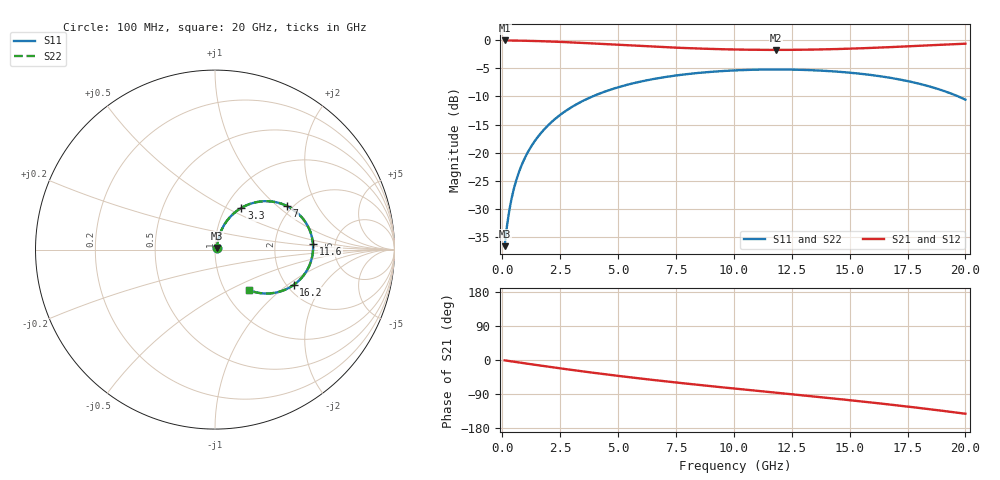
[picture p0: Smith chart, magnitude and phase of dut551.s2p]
! Touchstone file exported from HFSS 2026.1.0
!  File:  C:/ffzhzh/LocalFiles/Ansys_Project_Files/temp_train_TSV_RDL_551_1783114830_37876.aedt
!  Generated:  05:50:48 AM Jul  4, 2026
!  Design:  TSV_RDL
!  Project:  temp_train_TSV_RDL_551_1783114830_37876
! Variables:
!  h_bsmrdl = 5um
!  h_ox = 20um
!  h_rdl = 5um
!  h_sub = 82.22um
!  h_tmrdl = 4.93um
!  h_tsv = 82.22um
!  h_via = 3um
!  l_bsmrdl = 323.62um
!  l_sub = 2302.26um
!  l_tmrdl = 212.96um
!  m_sub = 200um
!  pitch = 47.09um
!  r_tsv = 8.95um
!  s_tmrdl = 10um
!  w_bsmrdl = 14.52um
!  w_sub = 500um
!  w_tmrdl = 12um
!  x_tsv_center1 = 218.96um
!  x_tsv_center2 = 557.1um
!  x_tsv_center3 = 782.06um
!  x_tsv_center4 = 1120.2um
!  x_tsv_center5 = 1345.16um
!  x_tsv_center6 = 1683.3um
# GHz S MA R 50.000000
! Terminal data exported
! Port[1] = TM_RDL1_1_T1
! Port[2] = TM_RDL5_1_T1
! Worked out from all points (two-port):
!   200 points, 100 MHz to 20 GHz, reference 50 ohm
!   highest |S21| = -0.10 dB at 100 MHz (marker M1); lowest = -1.8 dB at 11.8 GHz (marker M2)
!   |S21| within 3 dB of the highest: start of sweep to end of sweep
!   lowest |S11| = -36.6 dB at 100 MHz (marker M3), VSWR 1.03, Z = 51.2 + j0.957 ohm
!   |S11| at or under -10 dB: start of sweep to 3.91 GHz; 19.68 GHz to end of sweep
!   |S22| runs from -36.6 to -5.2 dB; largest |S21 - S12| = 4.1e-14
!   S11 on the Smith chart (normalised r, x): 100 MHz: 1.02, +0.02; 3.3 GHz: 1.18, +0.60; 7 GHz: 1.85, +1.16; 11.6 GHz: 3.38, +0.32; 16.2 GHz: 2.17, -1.11; 20 GHz: 1.29, -0.64
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0.1  0.01485 39.1  0.9886 -0.9  0.9886 -0.9  0.01485 39.1
! Gamma 0 0 0 0
! Port Impedance 50 0 50 0
0.2  0.02222 56.5  0.9882 -1.8  0.9882 -1.8  0.02222 56.5
0.3  0.03056 64.3  0.9877 -2.8  0.9877 -2.8  0.03056 64.3
0.4  0.03921 68.2  0.9871 -3.7  0.9871 -3.7  0.03921 68.2
0.7  0.06562 72.4  0.9851 -6.3  0.9851 -6.3  0.06562 72.4
1  0.09201 72.6  0.9824 -9.0  0.9824 -9.0  0.09201 72.6
1.4  0.1266 71.0  0.9778 -12.6  0.9778 -12.6  0.1266 71.0
1.9  0.1685 67.9  0.9705 -16.9  0.9705 -16.9  0.1685 67.9
2.5  0.2164 63.6  0.9599 -22.0  0.9599 -22.0  0.2164 63.6
3.3  0.2754 57.6  0.9435 -28.6  0.9435 -28.6  0.2754 57.6
3.5  0.2892 56.1  0.9391 -30.3  0.9391 -30.3  0.2892 56.1
5  0.38 45.1  0.9046 -41.9  0.9046 -41.9  0.38 45.1
6.8  0.4602 32.8  0.8661 -54.6  0.8661 -54.6  0.4602 32.8
7  0.4673 31.5  0.8623 -56.0  0.8623 -56.0  0.4673 31.5
10.1  0.5373 12.3  0.8214 -75.8  0.8214 -75.8  0.5373 12.3
11.6  0.5468 3.5  0.8154 -85.0  0.8154 -85.0  0.5468 3.5
11.8  0.5469 2.3  0.8153 -86.2  0.8153 -86.2  0.5469 2.3
13.4  0.5385 -7.1  0.8206 -95.9  0.8206 -95.9  0.5385 -7.1
16.2  0.4801 -24.3  0.8533 -113.9  0.8533 -113.9  0.4801 -24.3
16.7  0.4632 -27.5  0.8618 -117.3  0.8618 -117.3  0.4632 -27.5
18.5  0.3841 -39.6  0.8962 -130.2  0.8962 -130.2  0.3841 -39.6
20  0.2954 -50.0  0.9255 -141.8  0.9255 -141.8  0.2954 -50.0
